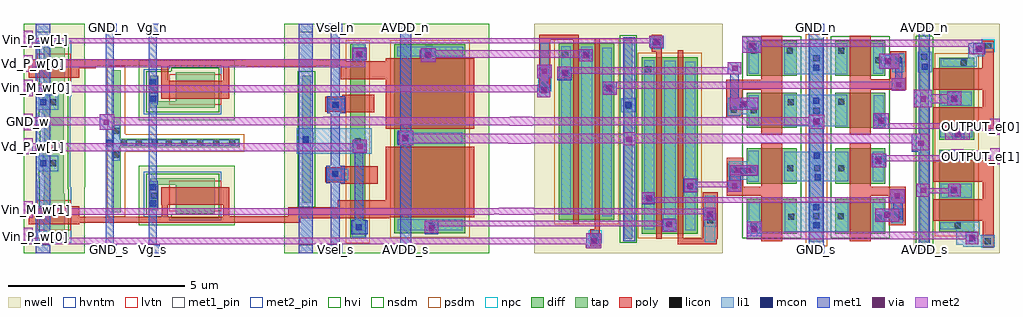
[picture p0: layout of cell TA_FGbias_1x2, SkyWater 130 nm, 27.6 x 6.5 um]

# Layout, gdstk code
import gdstk
lib = gdstk.Library(unit=1e-6, precision=1e-09)
def R(c, l, rs):  # rectangles x0, y0, x1, y1
    for r in rs: c.add(gdstk.rectangle(r[:2], r[2:], *l))
def A(c, l, x, y, w, h, nx, ny, dx, dy):  # array of equal rectangles
    R(c, l, [(x+i*dx, y+j*dy, x+i*dx+w, y+j*dy+h) for i in range(nx) for j in range(ny)])
nwell = (64, 20)
diff = (65, 20)
tap = (65, 44)
poly = (66, 20)
licon = (66, 44)
li1 = (67, 20)
mcon = (67, 44)
met1_pin = (68, 16)
met1 = (68, 20)
via = (68, 44)
met2_pin = (69, 16)
met2 = (69, 20)
hvi = (75, 20)
nsdm = (93, 44)
psdm = (94, 20)
npc = (95, 20)
hvntm = (125, 20)
lvtn = (125, 44)

ta_fgbias_1x2 = lib.new_cell('TA_FGbias_1x2')
R(ta_fgbias_1x2, nwell, [(-18.92,10.75,-17.19,12.63), (-11.54,10.75,-5.75,17.25), (-4.47,10.75,0.85,17.25), (6.25,10.75,8.68,16.6), (-15.66,11.54,-12.94,13.19), (-18.92,12.63,-17.18,16.2), (-15.66,13.19,-12.95,13.23), (-15.66,14.52,-12.95,14.56), (-15.66,14.56,-12.94,16.21), (-18.92,16.2,-17.19,17.25), (6.26,16.6,8.68,17.25)])
R(ta_fgbias_1x2, diff, [(-9.68,11.16,-9.26,16.66), (-1.43,11.3,0.14,16.3), (1.53,11.3,2.95,12.3), (4.03,11.3,5.45,12.3), (-8.43,11.32,-6.43,16.66), (6.97,11.36,7.97,13.68), (-3.78,11.7,-2.21,16.7), (1.53,12.72,2.95,13.72), (4.03,12.72,5.45,13.72), (6.97,13.96,7.97,16.28), (1.53,14.3,2.95,15.3), (4.03,14.3,5.45,15.3), (1.53,15.77,2.95,16.77), (4.03,15.77,5.45,16.77)])
R(ta_fgbias_1x2, tap, [(6.44,11.06,6.68,16.77), (3.32,11.08,3.68,16.82), (-1.93,11.17,-1.7,16.79), (-18.35,11.24,-17.76,12.44), (-14.62,11.87,-13.51,12.69), (-16.42,11.91,-16.17,13.75), (-15.33,11.97,-15.11,12.69), (-11.04,12.18,-10.8,15.78), (-18.34,12.44,-17.78,12.98), (-15.33,12.69,-13.51,12.88), (-18.37,12.98,-17.78,13.72), (-18.34,13.72,-17.78,14.71), (-16.42,13.75,-12.8,14), (-16.42,14,-16.17,15.93), (-18.37,14.71,-17.78,15.38), (-15.33,14.87,-13.51,15.06), (-15.33,15.06,-15.11,15.78), (-14.62,15.06,-13.51,15.88), (-18.37,15.38,-17.76,15.45), (-18.35,15.45,-17.76,16.58), (6.45,16.77,6.67,16.78)])
R(ta_fgbias_1x2, poly, [(8.2,10.92,8.52,11.68), (-2.9,10.95,-2.62,11.44), (-0.42,11.01,0.69,11.17), (1.94,11.1,2.54,12.38), (4.44,11.1,5.04,12.38), (-1.02,11.17,-0.87,16.46), (-0.42,11.17,-0.27,16.49), (0.29,11.17,0.71,12.48), (-2.77,11.44,-2.62,16.83), (5.55,11.54,6.03,12.38), (-3.37,11.57,-3.22,16.79), (-18.77,11.58,-17.34,11.62), (-18.77,11.62,-11.09,11.75), (6.81,11.68,8.52,12.28), (-18.77,11.75,-8.58,11.77), (-18.77,11.77,-6.17,11.79), (-18.77,11.79,-17.34,12.08), (-15.01,11.79,-14.84,12.12), (-13.27,11.79,-6.17,11.8), (-13.27,11.8,-13.1,12.12), (-11.44,11.8,-6.17,12.06), (-10.03,12.06,-6.17,12.25), (-15.02,12.12,-13.1,12.62), (-8.68,12.25,-6.17,13.77), (8.2,12.28,8.52,12.78), (0.96,12.38,2.54,12.64), (4.44,12.38,6.03,12.63), (4.44,12.63,5.04,13.86), (0.96,12.64,1.43,13.46), (1.94,12.64,2.54,13.86), (-9.94,12.72,-8.9,12.76), (-10.38,12.76,-8.9,13.18), (6.81,12.78,8.52,13.38), (-9.94,13.18,-8.9,13.22), (1.94,14.1,2.54,15.38), (4.44,14.1,5.04,15.38), (-8.68,14.27,-6.18,15.68), (6.81,14.28,8.52,14.88), (0.95,14.58,1.41,15.38), (-9.9,14.74,-9,14.76), (-10.38,14.76,-9,15.18), (8.2,14.88,8.52,15.38), (-15.02,15.13,-13.1,15.63), (-9.9,15.18,-9,15.24), (-4.33,15.29,-4.03,16.79), (0.95,15.38,2.54,15.66), (4.44,15.38,6.05,15.67), (6.81,15.38,8.52,15.98), (-15.02,15.63,-14.83,16.06), (-13.27,15.63,-13.1,16.06), (1.94,15.66,2.54,16.91), (4.44,15.67,5.04,16.91), (5.59,15.67,6.05,16.47), (-9.95,15.68,-6.18,16.06), (-18.77,15.72,-17.34,15.98), (-18.77,15.98,-16.88,16.06), (8.19,15.98,8.52,16.76), (-12.62,16.05,-10.65,16.06), (-18.77,16.06,-6.18,16.18), (-18.77,16.18,-9.79,16.22), (-8.68,16.18,-6.18,16.27), (-17.38,16.22,-9.79,16.23), (-12.62,16.23,-10.65,16.24), (-1.15,16.46,-0.87,16.94), (-4.33,16.79,-3.22,16.94)])
R(ta_fgbias_1x2, licon, [(8.265,11.01,8.435,11.18), (-2.84,11.135,-2.67,11.305), (-9.52,11.4,-9.35,11.57), (1.64,11.435,1.81,11.605), (7.415,11.445,7.585,11.615), (-7.465,11.46,-7.295,11.63), (-0.75,11.495,-0.58,11.665), (0.415,11.61,0.585,11.78), (5.175,11.675,5.345,11.845), (2.7,11.705,2.87,11.875), (4.11,11.715,4.28,11.885), (3.415,11.72,3.585,11.89), (5.705,11.755,5.875,11.925), (-1.305,12.21,-1.135,12.38), (-15.325,12.3,-15.155,12.47), (7.32,12.45,7.49,12.62), (-0.15,12.565,0.02,12.735), (-10.19,12.915,-10.02,13.085), (1.1,13.025,1.27,13.195), (1.62,13.025,1.79,13.195), (2.68,13.075,2.85,13.245), (3.44,13.075,3.61,13.245), (4.12,13.075,4.29,13.245), (-18.165,13.21,-17.995,13.38), (5.185,13.325,5.355,13.495), (-16.38,13.45,-16.21,13.62), (7.59,13.46,7.76,13.63), (-16.17,13.79,-16,13.96), (-15.74,13.79,-15.57,13.96), (-15.3,13.79,-15.13,13.96), (-14.9,13.79,-14.73,13.96), (-14.46,13.79,-14.29,13.96), (-13.56,13.79,-13.39,13.96), (-13.1,13.79,-12.93,13.96), (-14,13.8,-13.83,13.97), (-9.55,13.84,-9.38,14.01), (-11.025,13.895,-10.855,14.065), (-8.2,13.93,-8.03,14.1), (7.415,14.045,7.585,14.215), (-16.38,14.13,-16.21,14.3), (5.175,14.495,5.345,14.665), (3.42,14.7,3.59,14.87), (1.65,14.71,1.82,14.88), (1.085,14.73,1.255,14.9), (-1.89,14.845,-1.72,15.015), (-10.185,14.875,-10.015,15.045), (-18.165,14.94,-17.995,15.11), (2.69,14.94,2.86,15.11), (4.12,14.95,4.29,15.12), (7.32,15.05,7.49,15.22), (-15.325,15.28,-15.155,15.45), (-2.5,15.36,-2.33,15.53), (-4.27,15.43,-4.1,15.6), (-3.67,15.745,-3.5,15.915), (-1.34,15.88,-1.17,16.05), (7.59,16.06,7.76,16.23), (5.165,16.125,5.335,16.295), (5.735,16.135,5.905,16.305), (3.42,16.19,3.59,16.36), (6.47,16.22,6.64,16.39), (-3.69,16.28,-3.52,16.45), (-9.5,16.3,-9.33,16.47), (-3.075,16.31,-2.905,16.48), (-7.555,16.38,-7.385,16.55), (1.65,16.395,1.82,16.565), (2.66,16.4,2.83,16.57), (4.12,16.4,4.29,16.57), (8.27,16.54,8.44,16.71), (-1.09,16.635,-0.92,16.805)])
R(ta_fgbias_1x2, li1, [(7.66,10.94,8.54,10.99), (7.46,10.99,8.54,11.26), (-2.89,11.02,-2.68,11.03), (-2.89,11.03,-2.65,11.21), (0.35,11.07,0.64,12.38), (-9.62,11.21,-9.23,11.7), (-2.85,11.21,-2.65,11.4), (7.46,11.26,8.12,11.43), (1.55,11.31,1.92,11.7), (5.1,11.36,5.41,11.75), (2.61,11.37,4.4,12.21), (-0.84,11.38,-0.48,11.87), (-8.33,11.4,-6.51,11.72), (-0.21,11.4,0.07,12.38), (7.01,11.43,8.12,11.63), (-1.37,11.44,-1.09,16.21), (5.62,11.61,5.94,11.75), (7.46,11.63,8.12,11.64), (1.59,11.7,1.9,12.21), (5.1,11.75,5.94,11.95), (-2.56,11.8,-2.28,15.3), (-3.72,11.84,-3.44,16.61), (-3.15,11.85,-2.83,16.6), (-0.8,11.87,-0.48,16.2), (5.1,11.95,5.41,12.2), (5.62,11.95,5.94,12.34), (-15.36,12.06,-15.13,12.79), (7.02,12.33,7.9,12.72), (-0.25,12.38,0.11,12.92), (1.02,12.61,1.36,12.84), (1.58,12.78,1.87,12.84), (2.6,12.79,4.4,13.63), (5.1,12.79,5.41,13.63), (-10.34,12.82,-9.73,13.14), (1.02,12.84,1.87,13.36), (-0.21,12.92,0.07,16.17), (-18.49,13.08,-17.94,13.51), (1.58,13.36,1.87,13.66), (-16.39,13.37,-16.2,13.75), (7.02,13.43,7.93,13.65), (-11.19,13.57,-9.07,14.29), (7.02,13.65,7.54,13.66), (-16.58,13.75,-16.2,13.79), (-16.58,13.79,-12.84,13.97), (-8.35,13.85,-6.51,14.17), (-16.58,13.97,-16.2,13.98), (-16.39,13.98,-16.2,14.38), (7.01,14.03,7.91,14.23), (2.6,14.34,4.38,15.24), (1.59,14.36,1.87,14.69), (5.12,14.36,5.4,14.37), (5.12,14.37,5.47,14.63), (5.12,14.63,5.4,15.23), (0.99,14.64,1.36,14.69), (0.99,14.69,1.87,15.05), (-2.02,14.74,-1.6,15.14), (-18.49,14.81,-17.94,15.24), (-10.34,14.81,-9.84,15.12), (7.02,14.93,7.9,15.32), (-15.36,15,-15.13,15.69), (0.99,15.05,1.36,15.15), (1.59,15.05,1.87,15.22), (-4.3,15.29,-4.08,15.32), (-2.56,15.3,-2.25,15.51), (-4.31,15.32,-4.06,16.69), (-2.56,15.51,-2.28,16.57), (2.6,15.82,4.37,16.7), (1.59,15.83,1.87,16.69), (5.11,15.83,5.39,15.99), (5.65,15.87,5.99,15.99), (6.37,15.87,6.76,16.45), (5.11,15.99,5.99,16.35), (7.02,16.03,8.03,16.25), (-9.61,16.23,-9.24,16.66), (7.02,16.25,7.54,16.26), (7.8,16.25,8.03,16.32), (-7.59,16.26,-7.39,16.32), (-8.35,16.32,-6.49,16.6), (7.8,16.32,8.25,16.41), (5.11,16.35,5.39,16.7), (5.65,16.35,5.99,16.39), (7.8,16.41,8.27,16.44), (7.8,16.44,8.28,16.54), (-1.1,16.53,-0.9,16.63), (7.8,16.54,8.52,16.7), (-7.58,16.6,-7.35,16.61), (-1.15,16.63,-0.89,16.85), (1.59,16.69,1.85,16.7), (7.89,16.7,8.52,16.71), (-1.1,16.85,-0.9,16.9)])
R(ta_fgbias_1x2, mcon, [(-2.87,11.03,-2.7,11.2), (7.82,11.09,7.99,11.26), (1.665,11.355,1.835,11.525), (-9.52,11.41,-9.35,11.58), (3.42,11.455,3.59,11.625), (-7.465,11.46,-7.295,11.63), (-0.74,11.49,-0.57,11.66), (5.415,11.765,5.585,11.935), (0.395,11.775,0.565,11.945), (3.41,11.965,3.58,12.135), (-15.33,12.09,-15.16,12.26), (-1.305,12.21,-1.135,12.38), (7.3,12.445,7.47,12.615), (-15.33,12.54,-15.16,12.71), (-0.15,12.56,0.02,12.73), (3.45,12.82,3.62,12.99), (-10.19,12.915,-10.02,13.085), (1.36,13,1.53,13.17), (-18.44,13.21,-18.27,13.38), (5.17,13.29,5.34,13.46), (3.425,13.43,3.595,13.6), (7.4,13.445,7.57,13.615), (-16.57,13.78,-16.4,13.95), (-11.025,13.88,-10.855,14.05), (-8.21,13.92,-8.04,14.09), (7.425,14.035,7.595,14.205), (3.42,14.4,3.59,14.57), (5.255,14.415,5.425,14.585), (-1.91,14.87,-1.74,15.04), (1.33,14.87,1.5,15.04), (-10.175,14.875,-10.005,15.045), (-18.44,14.94,-18.27,15.11), (3.41,14.98,3.58,15.15), (-15.33,15.04,-15.16,15.21), (7.31,15.04,7.48,15.21), (-4.275,15.295,-4.105,15.465), (-2.44,15.32,-2.27,15.49), (-15.33,15.49,-15.16,15.66), (-3.675,15.765,-3.505,15.935), (3.41,15.92,3.58,16.09), (6.475,15.945,6.645,16.115), (5.44,16.1,5.61,16.27), (-3.09,16.265,-2.92,16.435), (-7.575,16.27,-7.405,16.44), (-9.505,16.295,-9.335,16.465), (8.01,16.45,8.18,16.62), (1.635,16.515,1.805,16.685), (-1.105,16.655,-0.935,16.825)])
R(ta_fgbias_1x2, met1_pin, [(-18.57,10.75,-18.17,11), (-16.68,10.75,-16.28,11), (-15.47,10.75,-15.07,11), (-11.14,10.75,-10.74,11), (-10.3,10.75,-9.9,11), (-8.33,10.75,-7.89,11), (3.28,10.75,3.72,11), (6.33,10.75,6.77,11), (-18.57,17,-18.17,17.25), (-16.68,17,-16.28,17.25), (-15.47,17,-15.07,17.25), (-11.14,17,-10.74,17.25), (-10.3,17,-9.9,17.25), (-8.33,17,-7.89,17.25), (3.28,17,3.72,17.25), (6.33,17,6.77,17.25)])
R(ta_fgbias_1x2, met1, [(-18.57,10.75,-18.17,17.25), (-16.68,10.75,-16.28,11), (-15.47,10.75,-15.07,11), (-11.14,10.75,-10.74,13.77), (-10.3,10.75,-9.9,11), (-8.33,10.75,-7.89,11), (3.28,10.75,3.72,11), (6.33,10.75,6.77,11), (-3.01,10.9,-2.58,11.32), (-16.6,11,-16.37,14.25), (-15.38,11,-15.15,12.01), (-10.23,11,-9.97,12.73), (-8.26,11,-7.95,13.81), (3.29,11,3.71,14.28), (6.4,11,6.71,12.01), (7.73,11.01,8.08,11.35), (-1.96,11.1,-1.62,16.87), (1.53,11.24,1.95,11.64), (-9.65,11.29,-9.18,11.69), (-7.57,11.29,-7.19,11.68), (-0.85,11.36,-0.44,11.71), (5.16,11.64,5.85,11.71), (-9.55,11.69,-9.31,13.59), (0.3,11.69,0.65,12.04), (-0.81,11.71,-0.48,11.73), (5.16,11.71,5.94,12.02), (-15.38,12.01,-15.12,12.8), (6.39,12.01,6.71,12.35), (5.68,12.02,5.94,12.17), (-1.43,12.14,-1.07,12.48), (5.57,12.17,6,12.56), (6.33,12.35,6.71,12.72), (7.23,12.37,7.58,12.72), (-0.26,12.48,0.13,12.86), (1,12.49,1.38,12.81), (6.39,12.72,6.71,13.62), (-10.36,12.73,-9.84,13.23), (-15.38,12.8,-15.15,14.95), (1.05,12.81,1.36,12.95), (1.05,12.95,1.84,13.24), (5.07,13.19,5.48,13.57), (-10.23,13.23,-9.97,14.72), (7.31,13.38,7.66,13.69), (-9.61,13.59,-9.22,13.96), (6.2,13.62,6.71,14.13), (-11.14,13.77,-10.72,14.18), (-8.33,13.81,-7.9,14.22), (7.34,13.96,7.68,14.28), (6.39,14.13,6.71,14.88), (-11.14,14.18,-10.74,17.25), (-8.26,14.22,-7.95,17), (-16.77,14.25,-16.36,14.68), (5.11,14.27,5.55,14.72), (3.29,14.28,3.72,14.67), (3.29,14.67,3.71,17), (-16.6,14.68,-16.37,17), (-10.33,14.72,-9.82,15.2), (1.05,14.81,1.86,15.15), (6.26,14.88,6.77,15.38), (7.2,14.94,7.6,15.33), (-15.38,14.95,-15.12,15.74), (1.06,15.15,1.3,15.81), (-4.39,15.16,-4.02,15.52), (-10.23,15.2,-9.97,15.32), (-2.54,15.24,-2.15,15.61), (-10.23,15.32,-9.98,17), (5.64,15.35,6.01,15.71), (6.39,15.38,6.71,15.81), (-4.32,15.52,-4.07,15.71), (-3.82,15.65,-3.42,16.03), (-4.39,15.71,-3.98,16.09), (5.73,15.71,5.93,15.97), (-15.38,15.74,-15.15,17), (1,15.81,1.38,16.16), (6.4,15.81,6.71,17), (5.28,15.97,5.93,16.29), (-7.69,16.15,-7.26,16.55), (-3.2,16.19,-2.82,16.52), (-9.63,16.21,-9.22,16.56), (5.28,16.29,5.84,16.4), (7.94,16.38,8.26,16.7), (1.41,16.42,1.94,16.88), (-1.21,16.57,-0.83,16.91), (-16.68,17,-16.28,17.25), (-15.47,17,-15.07,17.25), (-10.3,17,-9.9,17.25), (-8.33,17,-7.89,17.25), (3.28,17,3.72,17.25), (6.33,17,6.77,17.25)])
R(ta_fgbias_1x2, via, [(-2.875,11.03,-2.725,11.18), (7.83,11.13,7.98,11.28), (1.665,11.35,1.815,11.5), (-7.465,11.395,-7.315,11.545), (-0.73,11.485,-0.58,11.635), (5.435,11.78,5.585,11.93), (0.405,11.79,0.555,11.94), (-1.325,12.24,-1.175,12.39), (5.715,12.3,5.865,12.45), (6.455,12.46,6.605,12.61), (7.335,12.465,7.485,12.615), (1.12,12.585,1.27,12.735), (-0.14,12.6,0.01,12.75), (1.195,13.025,1.345,13.175), (1.515,13.025,1.665,13.175), (5.19,13.305,5.34,13.455), (7.405,13.465,7.555,13.615), (-9.475,13.695,-9.325,13.845), (6.385,13.79,6.535,13.94), (-1.87,13.905,-1.72,14.055), (-8.205,13.935,-8.055,14.085), (7.44,14.045,7.59,14.195), (-16.655,14.385,-16.505,14.535), (3.425,14.395,3.575,14.545), (5.27,14.435,5.42,14.585), (1.38,14.905,1.53,15.055), (6.45,15.045,6.6,15.195), (7.325,15.06,7.475,15.21), (-4.27,15.28,-4.12,15.43), (-2.425,15.35,-2.275,15.5), (5.755,15.445,5.905,15.595), (-3.69,15.775,-3.54,15.925), (-4.27,15.825,-4.12,15.975), (1.125,15.91,1.275,16.06), (5.47,16.105,5.62,16.255), (-3.085,16.27,-2.935,16.42), (-7.555,16.275,-7.405,16.425), (-9.505,16.315,-9.355,16.465), (8.025,16.465,8.175,16.615), (1.59,16.56,1.74,16.71), (-1.095,16.67,-0.945,16.82)])
A(ta_fgbias_1x2, met2_pin, -18.92, 15.2, 0.26, 0.46, 1, 3, 0, 0.69)
R(ta_fgbias_1x2, met2_pin, [(-18.92,11.01,-18.66,11.47), (-18.92,11.76,-18.66,12.22), (8.42,13.27,8.68,13.73), (-18.92,13.55,-18.66,14.01), (8.42,14.1,8.68,14.56), (-18.92,14.24,-18.66,14.7)])
R(ta_fgbias_1x2, met2, [(-3.01,10.9,-2.58,10.92), (-3.02,10.92,-2.58,11.01), (-18.92,11.01,-2.58,11.19), (7.73,11.01,8.08,11.15), (1.53,11.15,8.08,11.35), (-18.92,11.19,-18.66,11.47), (-3.01,11.19,-2.58,11.32), (-7.57,11.33,-7.19,11.52), (1.53,11.35,8.06,11.36), (-0.85,11.36,-0.44,11.52), (1.53,11.36,1.95,11.64), (-7.57,11.52,-0.44,11.67), (5.16,11.64,5.85,12.02), (-7.57,11.67,-7.19,11.68), (-0.85,11.67,-0.44,11.71), (0.3,11.69,0.65,11.86), (-18.92,11.76,-18.66,11.85), (-18.92,11.85,-5.62,11.86), (-5.47,11.85,-4.48,11.86), (-18.92,11.86,0.65,12.02), (-18.92,12.02,-1.19,12.03), (0.3,12.02,0.65,12.04), (-18.92,12.03,-18.66,12.22), (-5.47,12.03,-4.48,12.04), (-1.43,12.17,-1.07,12.18), (5.57,12.17,6,12.18), (-1.43,12.18,6,12.34), (-1.43,12.34,-1.07,12.48), (5.57,12.34,6,12.56), (6.33,12.35,6.7,12.45), (7.23,12.37,7.58,12.45), (6.33,12.45,7.58,12.6), (1,12.49,1.38,12.62), (-0.24,12.5,0.13,12.62), (6.33,12.6,6.7,12.72), (7.23,12.6,7.58,12.72), (-0.24,12.62,1.38,12.78), (-0.24,12.78,0.13,12.85), (1,12.78,1.38,12.81), (1.01,12.81,1.31,12.82), (1.05,12.96,1.84,13.24), (5.07,13.19,5.48,13.36), (8.42,13.27,8.68,13.43), (5.07,13.36,7.65,13.38), (5.07,13.38,7.66,13.43), (5.07,13.43,8.68,13.53), (5.07,13.53,5.48,13.57), (7.31,13.53,8.68,13.65), (-18.92,13.55,-18.66,13.64), (-9.61,13.59,-9.22,13.64), (-18.92,13.64,-9.22,13.87), (7.31,13.65,7.66,13.69), (8.42,13.65,8.68,13.73), (6.2,13.67,6.69,13.86), (-8.3,13.81,-7.9,13.86), (-1.96,13.81,-1.62,13.87), (-5.21,13.85,-4.58,13.86), (-8.3,13.86,-6.55,13.87), (-5.83,13.86,-4.58,13.87), (3.25,13.86,6.69,13.87), (-18.92,13.87,-18.66,14.01), (-9.61,13.87,-9.22,13.96), (-8.3,13.87,6.69,14.13), (7.14,13.96,7.84,14.22), (8.42,14.1,8.68,14.22), (-8.3,14.13,-7.9,14.22), (-1.96,14.13,-1.62,14.17), (7.14,14.22,8.68,14.28), (-18.92,14.24,-18.66,14.38), (-16.77,14.25,-16.36,14.38), (5.11,14.27,5.55,14.28), (3.29,14.28,3.72,14.38), (5.11,14.28,8.68,14.43), (-5.17,14.36,-4.53,14.37), (-10.62,14.37,-10.23,14.38), (-5.83,14.37,-4.53,14.38), (-18.92,14.38,3.72,14.6), (5.11,14.43,5.55,14.72), (8.42,14.43,8.68,14.56), (-18.92,14.6,-18.66,14.7), (-16.77,14.6,-16.36,14.68), (-10.45,14.6,-8.73,14.61), (-5.17,14.6,-4.53,14.61), (3.29,14.6,3.72,14.67), (1.05,14.81,1.86,15.15), (6.26,14.88,6.77,15), (7.2,14.94,7.6,15), (6.26,15,7.6,15.25), (-4.39,15.16,-4.02,15.31), (-18.92,15.2,-18.66,15.31), (-2.54,15.24,-2.15,15.4), (6.26,15.25,6.77,15.38), (7.2,15.25,7.6,15.33), (-18.92,15.31,-4.02,15.51), (5.64,15.35,6.01,15.4), (-2.54,15.4,6.01,15.6), (-18.92,15.51,-18.66,15.66), (-4.39,15.51,-4.02,15.52), (-4.32,15.52,-4.06,15.71), (-2.54,15.6,-2.15,15.61), (5.64,15.6,6.01,15.71), (-4.39,15.71,-3.98,16.09), (-3.82,15.71,-3.43,15.83), (1,15.81,1.38,15.82), (-2.61,15.82,1.38,15.83), (-3.82,15.83,1.38,16.01), (-18.92,15.89,-18.66,16.02), (5.28,15.97,5.84,16.4), (-3.82,16.01,-3.42,16.03), (1,16.01,1.38,16.16), (-18.92,16.02,-9.25,16.21), (-7.69,16.15,-7.26,16.28), (-3.2,16.19,-2.82,16.29), (-18.92,16.21,-9.22,16.24), (-18.92,16.24,-18.66,16.35), (-9.63,16.24,-9.22,16.55), (-7.72,16.28,-7.26,16.29), (-7.72,16.29,-2.82,16.49), (7.83,16.38,8.25,16.53), (1.41,16.42,1.94,16.6), (-7.69,16.49,-7.26,16.55), (-3.2,16.49,-2.82,16.52), (7.82,16.53,8.25,16.6), (-1.21,16.57,-0.83,16.59), (-18.92,16.58,-18.66,16.69), (-1.23,16.59,-0.83,16.69), (1.41,16.6,8.25,16.71), (-18.92,16.69,-0.83,16.83), (1.41,16.71,8.21,16.79), (1.41,16.79,1.94,16.88), (-18.92,16.83,-18.66,17.04), (-1.23,16.83,-0.83,16.89), (-1.21,16.89,-0.83,16.91)])
R(ta_fgbias_1x2, hvi, [(-18.92,10.75,-17.19,12.63), (-11.54,10.75,-5.75,17.25), (-15.66,11.54,-12.94,13.19), (-18.92,12.63,-17.18,16.2), (-15.66,13.19,-12.95,13.23), (-15.66,14.52,-12.95,14.56), (-15.66,14.56,-12.94,16.21), (-18.92,16.2,-17.19,17.25)])
R(ta_fgbias_1x2, nsdm, [(6.315,10.935,6.805,16.895), (-2.055,11.045,-1.575,16.915), (-18.475,11.115,-17.635,12.565), (1.405,11.175,3.075,16.895), (3.905,11.175,5.575,16.895), (-14.745,11.745,-13.385,11.845), (-15.455,11.845,-13.385,13.005), (-11.165,12.055,-10.675,15.905), (-18.475,12.565,-17.655,12.855), (-18.495,12.855,-17.655,13.845), (-18.465,13.845,-17.655,14.585), (-18.495,14.585,-17.655,15.255), (-15.455,14.745,-13.385,15.905), (-18.495,15.255,-17.635,15.575), (-18.475,15.575,-17.635,16.705), (-14.745,15.905,-13.385,16.005), (6.325,16.895,6.795,16.905)])
R(ta_fgbias_1x2, psdm, [(3.195,10.955,3.805,16.945), (-9.805,11.035,-9.135,16.785), (-1.555,11.175,0.265,16.425), (-8.555,11.195,-6.305,16.785), (6.845,11.235,8.095,16.405), (-3.905,11.575,-2.085,16.825), (-16.545,11.785,-16.045,13.625), (-16.545,13.625,-12.675,14.125), (-16.545,14.125,-16.045,16.055)])
R(ta_fgbias_1x2, npc, [(8.165,10.91,8.535,11.28), (-2.94,11.035,-2.57,11.405), (0.315,11.51,0.685,11.88), (5.605,11.655,5.975,12.025), (-10.29,12.815,-9.92,13.185), (1,12.925,1.37,13.295), (0.985,14.63,1.355,15), (-10.285,14.775,-9.915,15.145), (-4.37,15.33,-4,15.7), (5.635,16.035,6.005,16.405), (8.17,16.44,8.54,16.81), (-1.19,16.535,-0.82,16.905)])
R(ta_fgbias_1x2, hvntm, [(-18.535,11.055,-17.575,12.625), (-14.805,11.685,-13.325,11.785), (-15.515,11.785,-13.325,13.065), (-18.535,12.625,-17.595,12.795), (-18.555,12.795,-17.595,15.195), (-15.515,14.685,-13.325,15.965), (-18.555,15.195,-17.575,15.635), (-18.535,15.635,-17.575,16.765), (-14.805,15.965,-13.325,16.065)])
R(ta_fgbias_1x2, lvtn, [(-18.53,11.4,-17.58,12.26), (-14.8,11.94,-13.33,12.8), (-14.8,14.95,-13.33,15.81), (-18.53,15.54,-17.58,16.4)])
ta_fgbias_1x2.add(gdstk.Label('Vin_P_w[0]', (-18.79,11.24), layer=69, texttype=5))
ta_fgbias_1x2.add(gdstk.Label('Vin_M_w[1]', (-18.79,11.99), layer=69, texttype=5))
ta_fgbias_1x2.add(gdstk.Label('Vd_P_w[0]', (-18.79,16.12), layer=69, texttype=5))
ta_fgbias_1x2.add(gdstk.Label('Vin_P_w[1]', (-18.79,16.81), layer=69, texttype=5))
ta_fgbias_1x2.add(gdstk.Label('GND_w', (-18.79,14.47), layer=69, texttype=5))
ta_fgbias_1x2.add(gdstk.Label('GND_s', (-16.48,10.875), layer=68, texttype=5))
ta_fgbias_1x2.add(gdstk.Label('GND_n', (-16.48,17.125), layer=68, texttype=5))
ta_fgbias_1x2.add(gdstk.Label('Vg_s', (-15.27,10.875), layer=68, texttype=5))
ta_fgbias_1x2.add(gdstk.Label('Vg_n', (-15.27,17.125), layer=68, texttype=5))
ta_fgbias_1x2.add(gdstk.Label('Vsel_s', (-10.1,10.875), layer=68, texttype=5))
ta_fgbias_1x2.add(gdstk.Label('Vsel_n', (-10.1,17.125), layer=68, texttype=5))
ta_fgbias_1x2.add(gdstk.Label('AVDD_s', (-8.11,10.875), layer=68, texttype=5))
ta_fgbias_1x2.add(gdstk.Label('AVDD_n', (-8.11,17.125), layer=68, texttype=5))
ta_fgbias_1x2.add(gdstk.Label('GND_s', (3.5,10.875), layer=68, texttype=5))
ta_fgbias_1x2.add(gdstk.Label('GND_n', (3.5,17.125), layer=68, texttype=5))
ta_fgbias_1x2.add(gdstk.Label('AVDD_s', (6.55,10.875), layer=68, texttype=5))
ta_fgbias_1x2.add(gdstk.Label('AVDD_n', (6.55,17.125), layer=68, texttype=5))
ta_fgbias_1x2.add(gdstk.Label('OUTPUT_e[0]', (8.55,14.33), layer=69, texttype=5))
ta_fgbias_1x2.add(gdstk.Label('VTUN_s', (-18.37,10.875), layer=68, texttype=5))
ta_fgbias_1x2.add(gdstk.Label('VTUN_n', (-18.37,17.125), layer=68, texttype=5))
ta_fgbias_1x2.add(gdstk.Label('VINJ_s', (-10.94,10.875), layer=68, texttype=5))
ta_fgbias_1x2.add(gdstk.Label('VINJ_n', (-10.94,17.125), layer=68, texttype=5))
ta_fgbias_1x2.add(gdstk.Label('Vd_P_w[1]', (-18.79,13.78), layer=69, texttype=5))
ta_fgbias_1x2.add(gdstk.Label('Vin_M_w[0]', (-18.79,15.43), layer=69, texttype=5))
ta_fgbias_1x2.add(gdstk.Label('OUTPUT_e[1]', (8.55,13.5), layer=69, texttype=5))

lib.write_gds('TA_FGbias_1x2.gds')
